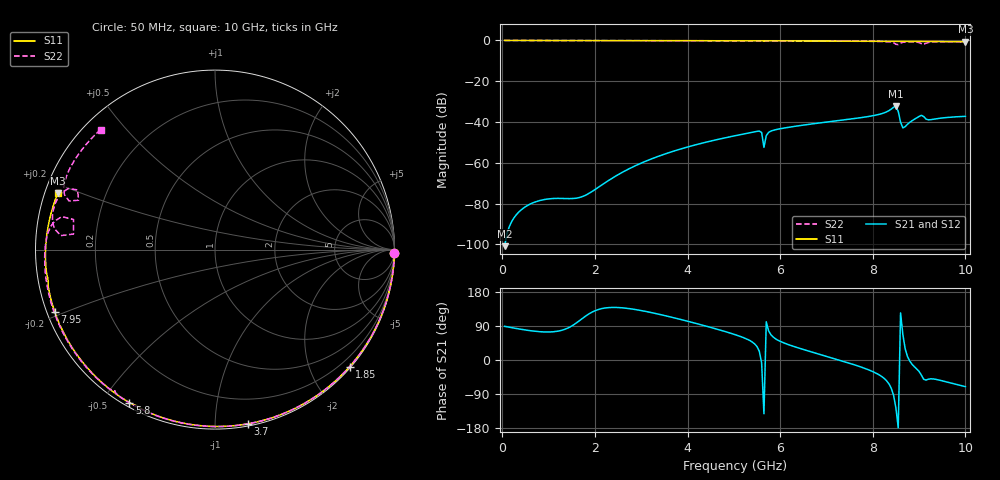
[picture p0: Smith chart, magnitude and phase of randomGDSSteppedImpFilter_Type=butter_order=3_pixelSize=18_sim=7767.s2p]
! freq	dB(S11)	phase(S11)	dB(S12)	phase(S12)
!  dB(S21)	phase(S21)	dB(S22)	phase(S22)
!S-par simulation data
#  GHz  S  DB  R 50
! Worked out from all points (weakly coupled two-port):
!   200 points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, 50 MHz to 10 GHz, reference 50 ohm
!   highest |S21| = -32.34 dB at 8.5 GHz (marker M1); lowest = -100.9 dB at 50 MHz (marker M2)
!   lowest |S11| = -0.6 dB at 10 GHz (marker M3), VSWR 27.78, Z = 1.85 + j8.68 ohm
!   |S11| at or under -10 dB: nowhere
!   |S22| runs from -2.0 to 0.0 dB; largest |S21 - S12| = 0
!   S11 on the Smith chart (normalised r, x): 50 MHz: open; 1.85 GHz: 0.02, -2.67; 3.7 GHz: 0.02, -1.20; 5.8 GHz: 0.02, -0.59; 7.95 GHz: 0.02, -0.19; 10 GHz: 0.04, +0.17
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0.05  -0.00 -1.1  -100.86 88.8  -100.86 88.8  -0.00 -1.2
1.75  -0.05 -38.9  -76.36 111.5  -76.36 111.5  -0.05 -41.4
1.85  -0.05 -41.1  -75.26 120.1  -75.26 120.1  -0.06 -43.7
2.65  -0.07 -58.0  -63.93 137.0  -63.93 137.0  -0.08 -61.8
3.4  -0.10 -73.4  -56.55 120.3  -56.55 120.3  -0.10 -78.3
3.7  -0.11 -79.4  -54.26 111.6  -54.26 111.6  -0.11 -84.7
5.05  -0.16 -105.4  -46.60 66.0  -46.60 66.0  -0.17 -113.1
5.55  -0.19 -114.9  -44.45 23.1  -44.45 23.1  -0.22 -123.7
5.6  -0.22 -115.8  -45.11 -7.5  -45.11 -7.5  -0.26 -124.8
5.65  -0.25 -116.5  -52.42 -141.8  -52.42 -141.8  -0.31 -125.3
5.7  -0.22 -117.3  -46.69 100.9  -46.69 100.9  -0.25 -126.2
5.8  -0.21 -119.2  -44.44 66.7  -44.44 66.7  -0.23 -128.4
6.7  -0.26 -135.8  -40.88 20.5  -40.88 20.5  -0.29 -147.5
7.95  -0.38 -158.9  -37.12 -28.0  -37.12 -28.0  -0.43 -175.9
8.35  -0.42 -166.5  -34.39 -63.1  -34.39 -63.1  -0.68 172.1
8.5  -0.48 -169.4  -32.34 -127.1  -32.34 -127.1  -1.88 168.0
8.55  -0.49 -170.2  -34.79 -178.9  -34.79 -178.9  -2.01 173.7
8.65  -0.47 -172.0  -42.87 67.2  -42.87 67.2  -0.89 172.6
8.9  -0.48 -177.0  -38.64 -18.0  -38.64 -18.0  -0.71 161.9
9.05  -0.50 -180.0  -36.71 -39.8  -36.71 -39.8  -1.57 156.5
9.2  -0.52 177.0  -38.92 -50.7  -38.92 -50.7  -0.98 159.9
10  -0.63 160.3  -37.19 -70.4  -37.19 -70.4  -0.68 133.6
